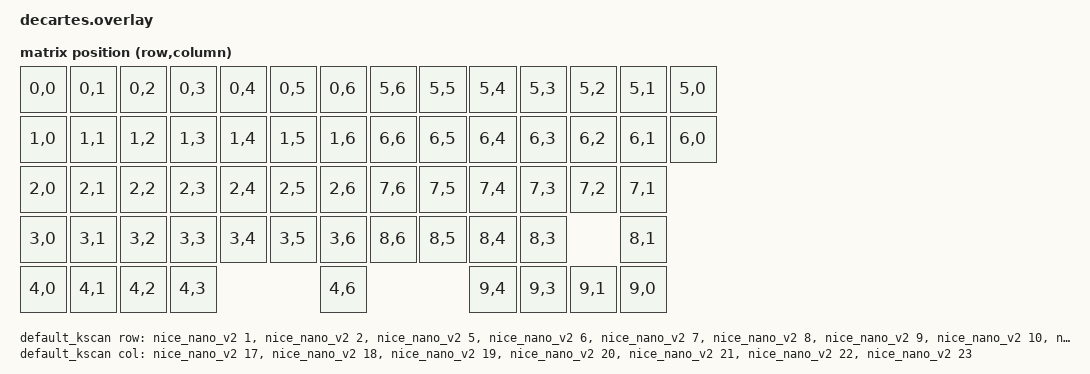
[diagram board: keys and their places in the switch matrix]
#include <dt-bindings/zmk/matrix_transform.h
/ {
    chosen {
            zmk,kscan = default_kscan;
            zmk,matrix_transform = &default_transform;
            
    };

    default_kscan: kscan {
        compatible = "zmk,kscan-gpio-matrix";
        label = "default_kscan";
        diode-direction = "col2row";

        row-gpios = <&nice_nano_v2 1 (GPIO_ACTIVE_HIGH | GPIO_PULL_DOWN)>,
                    <&nice_nano_v2 2 (GPIO_ACTIVE_HIGH | GPIO_PULL_DOWN)>,
                    <&nice_nano_v2 5 (GPIO_ACTIVE_HIGH | GPIO_PULL_DOWN)>,
                    <&nice_nano_v2 6 (GPIO_ACTIVE_HIGH | GPIO_PULL_DOWN)>,
                    <&nice_nano_v2 7 (GPIO_ACTIVE_HIGH | GPIO_PULL_DOWN)>,
                    <&nice_nano_v2 8 (GPIO_ACTIVE_HIGH | GPIO_PULL_DOWN)>,
                    <&nice_nano_v2 9 (GPIO_ACTIVE_HIGH | GPIO_PULL_DOWN)>,
                    <&nice_nano_v2 10 (GPIO_ACTIVE_HIGH | GPIO_PULL_DOWN)>,
                    <&nice_nano_v2 11 (GPIO_ACTIVE_HIGH | GPIO_PULL_DOWN)>,
                    <&nice_nano_v2 12 (GPIO_ACTIVE_HIGH | GPIO_PULL_DOWN)>;

        col-gpios = <&nice_nano_v2 17 GPIO_ACTIVE_HIGH>,
                    <&nice_nano_v2 18 GPIO_ACTIVE_HIGH>,
                    <&nice_nano_v2 19 GPIO_ACTIVE_HIGH>,
                    <&nice_nano_v2 20 GPIO_ACTIVE_HIGH>,
                    <&nice_nano_v2 21 GPIO_ACTIVE_HIGH>,
                    <&nice_nano_v2 22 GPIO_ACTIVE_HIGH>,     
                    <&nice_nano_v2 23 GPIO_ACTIVE_HIGH>;                  
    };

    default_transform: matrix_transform {
        compatible = "zmk,matrix_transform";
        rows = <10>;
        columns = <7>;

        map = <
            RC(0,0) RC(0,1) RC(0,2) RC(0,3) RC(0,4) RC(0,5) RC(0,6) RC(5,6) RC(5,5) RC(5,4) RC(5,3) RC(5,2) RC(5,1) RC(5,0)
            RC(1,0) RC(1,1) RC(1,2) RC(1,3) RC(1,4) RC(1,5) RC(1,6) RC(6,6) RC(6,5) RC(6,4) RC(6,3) RC(6,2) RC(6,1) RC(6,0)
            RC(2,0) RC(2,1) RC(2,2) RC(2,3) RC(2,4) RC(2,5) RC(2,6) RC(7,6) RC(7,5) RC(7,4) RC(7,3) RC(7,2) RC(7,1)
            RC(3,0) RC(3,1) RC(3,2) RC(3,3) RC(3,4) RC(3,5) RC(3,6) RC(8,6) RC(8,5) RC(8,4) RC(8,3)         RC(8,1)
            RC(4,0) RC(4,1) RC(4,2) RC(4,3)                 RC(4,6)                 RC(9,4) RC(9,3) RC(9,1) RC(9,0)
            >;
    };
};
